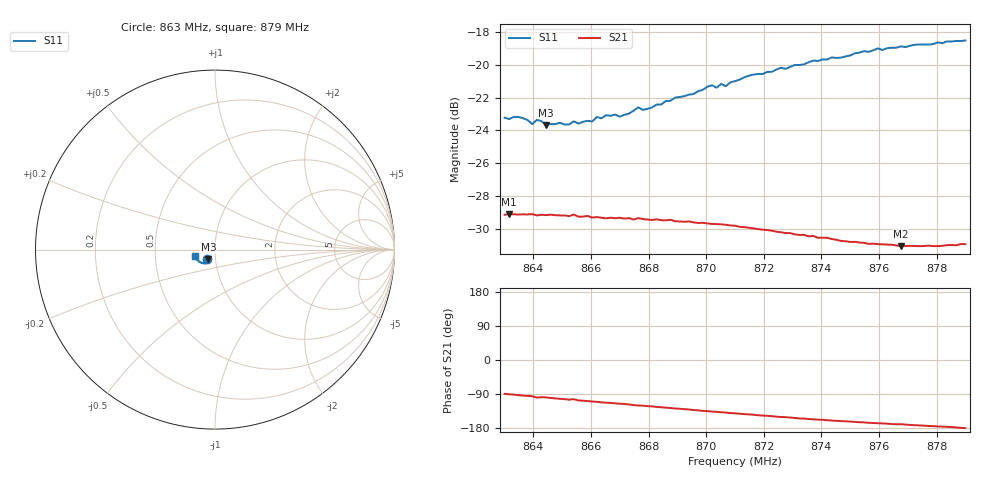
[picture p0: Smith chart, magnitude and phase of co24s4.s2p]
# HZ S RI R 50
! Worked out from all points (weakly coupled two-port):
!   101 points, 863 MHz to 879 MHz, reference 50 ohm
!   highest |S21| = -29.10 dB at 863.16 MHz (marker M1); lowest = -31.1 dB at 876.76 MHz (marker M2)
!   lowest |S11| = -23.7 dB at 864.44 MHz (marker M3), VSWR 1.14, Z = 46.2 - j5.02 ohm
!   |S11| at or under -10 dB: start of sweep to end of sweep
!   S12 and S22 are empty: the file has one direction only
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8.63e8  -0.0428 -0.0541  0.000453 -0.0349  0 0  0 0
8.6316e8  -0.0423 -0.0537  -0.000335 -0.0351  0 0  0 0
8.6348e8  -0.0419 -0.0553  -0.00171 -0.0349  0 0  0 0
8.6396e8  -0.0388 -0.0534  -0.00342 -0.0349  0 0  0 0
8.6412e8  -0.0402 -0.0548  -0.00551 -0.0343  0 0  0 0
8.6444e8  -0.0371 -0.0542  -0.0053 -0.0344  0 0  0 0
8.6572e8  -0.0338 -0.0578  -0.0103 -0.0329  0 0  0 0
8.6604e8  -0.0334 -0.0583  -0.0114 -0.0322  0 0  0 0
8.662e8  -0.0351 -0.0598  -0.012 -0.0322  0 0  0 0
8.6652e8  -0.0338 -0.0615  -0.013 -0.0314  0 0  0 0
8.67e8  -0.0329 -0.0612  -0.0147 -0.0309  0 0  0 0
8.6764e8  -0.0357 -0.065  -0.017 -0.0295  0 0  0 0
8.678e8  -0.0341 -0.0645  -0.0172 -0.0292  0 0  0 0
8.6844e8  -0.0357 -0.0668  -0.0191 -0.0276  0 0  0 0
8.702e8  -0.0446 -0.0744  -0.0236 -0.0227  0 0  0 0
8.7036e8  -0.0434 -0.0733  -0.0238 -0.0224  0 0  0 0
8.7068e8  -0.0453 -0.0732  -0.0244 -0.0215  0 0  0 0
8.71e8  -0.0485 -0.0749  -0.025 -0.0205  0 0  0 0
8.7372e8  -0.0697 -0.076  -0.0276 -0.012  0 0  0 0
8.7644e8  -0.0943 -0.0619  -0.0277 -0.00542  0 0  0 0
8.7676e8  -0.0973 -0.0593  -0.0275 -0.00512  0 0  0 0
8.79e8  -0.1126 -0.0378  -0.0284 -6.1e-05  0 0  0 0
